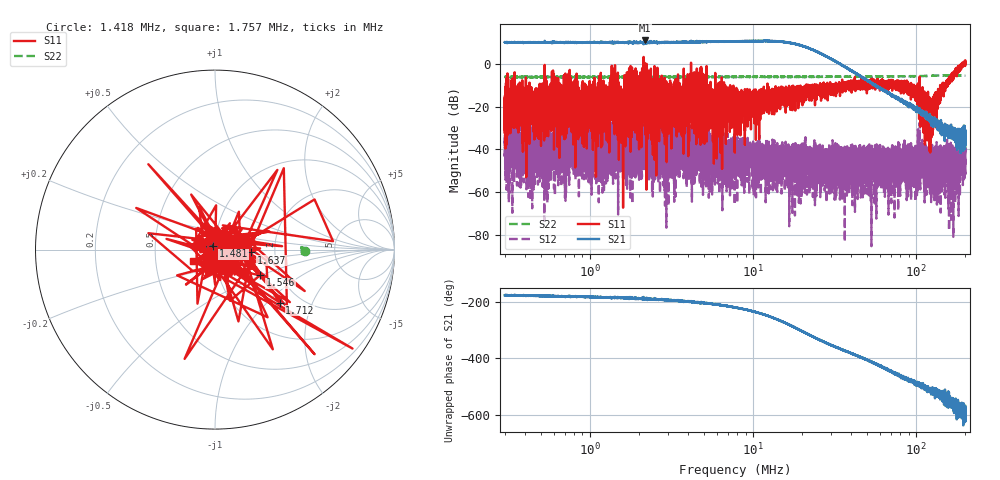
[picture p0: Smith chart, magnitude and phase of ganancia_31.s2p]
# Hz S DB R 50
! CMT, M5065, 19127446, 24.2.4/2
! Date: 11/1/2024 3:31:14 PM
! Data: Format (Calibration Info)
! Freq	S11:dB/Ang(F2)	S21:dB/Ang(F2)	S12:dB/Ang(F2)	S22:dB/Ang(F2)
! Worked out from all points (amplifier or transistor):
!   9000 points, 300 kHz to 200 MHz, reference 50 ohm
!   highest |S21| = 11.1 dB at 2.166 MHz (marker M1)
!   |S21| within 3 dB of that: start of sweep to 20.79 MHz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
!   unconditionally stable (mu >= 1): 528.4 kHz to 2.132 MHz; 2.265 MHz to 4.163 MHz; 4.168 MHz to 188.6 MHz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
!   at 886.8 kHz: K = 8.99, MAG = 11.5 dB, |S12| = -37.8 dB
!   at 7.749 MHz: K = 14.46, MAG = 12.0 dB, |S12| = -42.6 dB
!   at 200 MHz: K = -157.57, MSG = 0.1 dB, |S12| = -39.3 dB
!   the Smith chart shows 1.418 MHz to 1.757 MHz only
!   S11 on the Smith chart (normalised r, x): 1.418 MHz: 1.18, +0.27; 1.481 MHz: 0.98, +0.04; 1.546 MHz: 1.57, -0.49; 1.637 MHz: 1.50, -0.05; 1.712 MHz: 1.58, -1.19; 1.757 MHz: 0.77, -0.10
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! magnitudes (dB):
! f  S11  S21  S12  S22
! 300 kHz  -29.5  10.3  -41.9  -6.0
! 314 kHz  -18.3  10.2  -38.1  -6.0
! 757 kHz  -12.4  10.2  -46.5  -6.1
! 886.8 kHz  -22.6  10.2  -37.8  -6.1
! 1.418 MHz  -16.5  10.2  -46.7  -6.0
! 1.481 MHz  -33.6  10.2  -37.7  -6.0
! 1.546 MHz  -10.8  10.1  -40.0  -6.0
! 1.637 MHz  -13.9  10.2  -37.8  -6.0
! 1.712 MHz  -6.6  10.0  -27.2  -5.9
! 1.757 MHz  -17.0  10.4  -43.2  -6.1
! 2.166 MHz  0.6  11.1  -40.6  -6.0
! 2.621 MHz  -23.4  10.2  -43.2  -6.0
! 4.649 MHz  -23.3  10.3  -48.4  -6.1
! 7.749 MHz  -16.7  10.7  -42.6  -6.0
! 22.91 MHz  -11.6  6.9  -43.4  -6.0
! 67.71 MHz  -8.6  -13.7  -41.5  -5.8
! 99.01 MHz  -14.9  -20.9  -46.9  -5.6
! 123.2 MHz  -23.6  -26.0  -50.4  -5.4
! 147.4 MHz  -11.4  -31.3  -38.8  -5.3
! 180.6 MHz  -3.6  -33.9  -43.1  -5.4
! 193.5 MHz  -0.2  -31.8  -48.2  -5.4
! 200 MHz  0.2  -39.2  -39.3  -5.4
